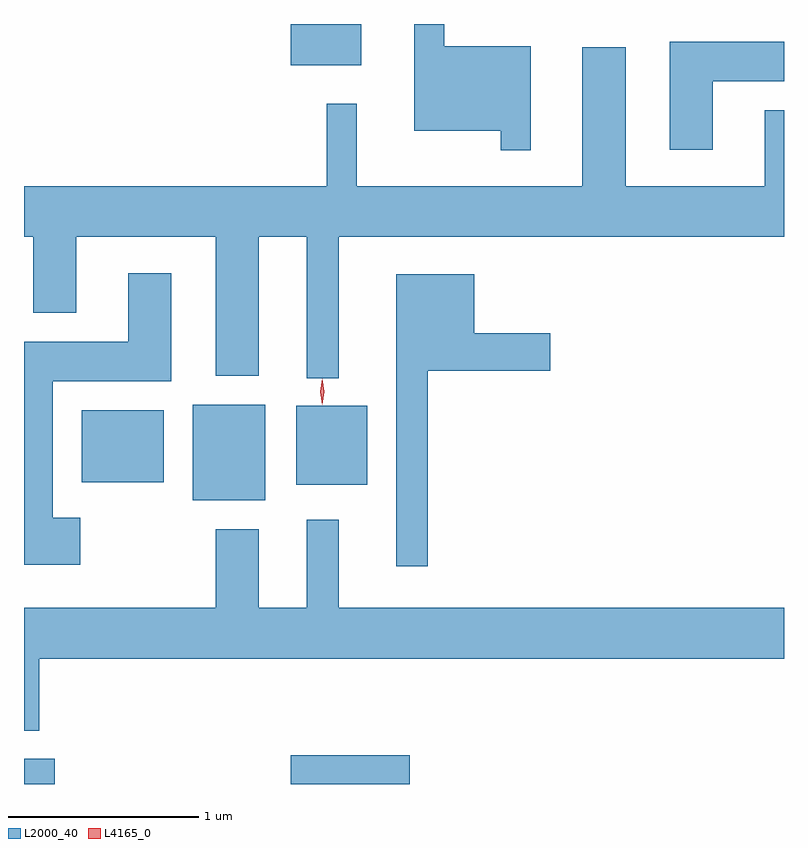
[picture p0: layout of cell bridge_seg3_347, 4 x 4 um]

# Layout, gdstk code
import gdstk
lib = gdstk.Library(unit=1e-6, precision=1e-09)
def R(c, l, rs):  # rectangles x0, y0, x1, y1
    for r in rs: c.add(gdstk.rectangle(r[:2], r[2:], *l))
def P(c, l, *ps):  # polygons
    for p in ps: c.add(gdstk.Polygon(p, *l))
L2000_40 = (2000, 40)
L4165_0 = (4165, 0)

bridge_seg3_347 = lib.new_cell('bridge_seg3_347')
R(bridge_seg3_347, L2000_40, [(665.263,1227.477,665.424,1227.609), (666.666,1227.477,667.294,1227.629), (666.151,1228.971,666.534,1229.474), (666.696,1229.051,667.069,1229.469), (665.566,1229.066,665.999,1229.444), (666.666,1231.261,667.039,1231.477)])
P(bridge_seg3_347, L2000_40, [(667.929,1231.359),(667.474,1231.359),(667.474,1231.477),(667.316,1231.477),(667.316,1230.916),(667.771,1230.916),(667.771,1230.813),(667.929,1230.813)],
  [(668.889,1231.176),(669.263,1231.176),(669.263,1231.384),(668.661,1231.384),(668.661,1230.816),(668.889,1230.816)],
  [(666.919,1230.356),(669.263,1230.356),(669.263,1231.024),(669.161,1231.024),(669.161,1230.624),(668.429,1230.624),(668.429,1231.354),(668.201,1231.354),(668.201,1230.624),(667.014,1230.624),(667.014,1231.058),(666.856,1231.058),(666.856,1230.624),(665.263,1230.624),(665.263,1230.356),(665.311,1230.356),(665.311,1229.956),(665.539,1229.956),(665.539,1230.356),(666.271,1230.356),(666.271,1229.626),(666.499,1229.626),(666.499,1230.356),(666.751,1230.356),(666.751,1229.613),(666.919,1229.613)],
  [(665.559,1228.879),(665.414,1228.879),(665.414,1229.596),(666.039,1229.596),(666.039,1230.164),(665.811,1230.164),(665.811,1229.804),(665.263,1229.804),(665.263,1228.631),(665.559,1228.631)],
  [(667.389,1229.651),(668.034,1229.651),(668.034,1229.849),(667.634,1229.849),(667.634,1230.159),(667.221,1230.159),(667.221,1228.623),(667.389,1228.623)],
  [(665.344,1228.136),(669.263,1228.136),(669.263,1228.404),(666.919,1228.404),(666.919,1228.868),(666.751,1228.868),(666.751,1228.404),(666.499,1228.404),(666.499,1228.819),(666.271,1228.819),(666.271,1228.404),(665.263,1228.404),(665.263,1227.758),(665.344,1227.758)])
P(bridge_seg3_347, L4165_0, [(666.832,1229.474),(666.823,1229.542),(666.832,1229.61),(666.833,1229.61),(666.833,1229.61),(666.843,1229.542),(666.833,1229.474),(666.833,1229.474)],
  [(666.832,1229.478),(666.823,1229.542),(666.832,1229.607),(666.833,1229.607),(666.833,1229.607),(666.843,1229.542),(666.833,1229.478),(666.833,1229.478)])

lib.write_gds('bridge_seg3_347.gds')
